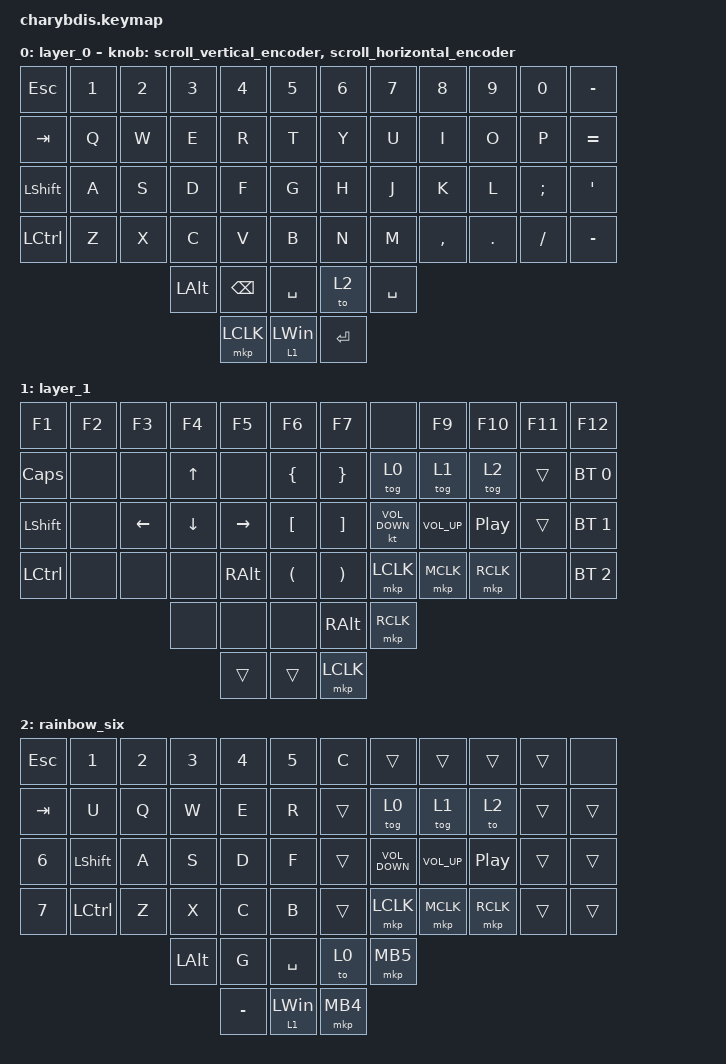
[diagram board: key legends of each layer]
#include <dt-bindings/zmk/mouse.h>
#include <input/processors.dtsi>
#include <zephyr/dt-bindings/input/input-event-codes.h>
#include <behaviors.dtsi>
#include <dt-bindings/zmk/bt.h>
#include <dt-bindings/zmk/keys.h>
#include <dt-bindings/zmk/pointing.h>

#define ZMK_POINTING_DEFAULT_MOVE_VAL 1000 // 600
#define ZMK_POINTING_DEFAULT_SCRL_VAL 12   // 10

&lt {
    tapping-term-ms = <200>;
    flavor = "balanced";
    quick-tap-ms = <150>;
};

&mmv_input_listener { input-processors = <&zip_xy_scaler 2 1>; };

&msc_input_listener { input-processors = <&zip_scroll_scaler 2 1>; };

&msc {
    acceleration-exponent = <0>;      // 0
    time-to-max-speed-ms = <100>;       // 300
    delay-ms = <0>;                   // 0
};

&mmv {
    time-to-max-speed-ms = <300>;
    acceleration-exponent = <1>;
    trigger-period-ms = <16>;
};

/ {
    // 上下滚动编码器行为

    scroll_vertical_encoder: scroll_vertical_encoder {
        compatible = "zmk,behavior-sensor-rotate";
        #sensor-binding-cells = <0>;
        bindings = <&msc SCRL_DOWN>, <&msc SCRL_UP>;

        tap-ms = <100>;
    };

    // 左右滚动编码器行为

    scroll_horizontal_encoder: scroll_horizontal_encoder {
        compatible = "zmk,behavior-sensor-rotate";
        #sensor-binding-cells = <0>;
        bindings = <&msc SCRL_LEFT>, <&msc SCRL_RIGHT>;

        tap-ms = <100>;
    };

    behaviors {
    };

    combos { compatible = "zmk,combos"; };

    keymap {
        compatible = "zmk,keymap";

        layer_0 {
            bindings = <
&kp ESCAPE        &kp N1  &kp N2  &kp N3        &kp N4         &kp N5            &kp N6     &kp NUMBER_7  &kp N8     &kp N9      &kp N0         &kp MINUS
&kp TAB           &kp Q   &kp W   &kp E         &kp R          &kp T             &kp Y      &kp U         &kp I      &kp O       &kp P          &kp EQUAL
&kp LEFT_SHIFT    &kp A   &kp S   &kp D         &kp F          &kp G             &kp H      &kp J         &kp K      &kp L       &kp SEMICOLON  &kp SQT
&kp LEFT_CONTROL  &kp Z   &kp X   &kp C         &kp V          &kp B             &kp N      &kp M         &kp COMMA  &kp PERIOD  &kp FSLH       &kp MINUS
                                  &kp LEFT_ALT  &kp BACKSPACE  &kp SPACE         &to 2      &kp SPACE
                                                &mkp LCLK      &lt 1 LEFT_WIN    &kp ENTER
            >;

            sensor-bindings =
                <&scroll_vertical_encoder>,
                // 编码器1：上下滚动,,,,,,,,,,,,,,,,,,,,,,,,,,,,,,,,,,,,,,
                <&scroll_horizontal_encoder>;

            // 编码器2：左右滚动
        };

        layer_1 {
            bindings = <
&kp F1          &kp F2  &kp F3          &kp F4          &kp F5           &kp F6                  &kp F7                 &none              &kp F9           &kp F10           &kp F11  &kp F12
&kp CAPS        &none   &none           &kp UP_ARROW    &none            &kp LEFT_BRACE          &kp RIGHT_BRACE        &tog 0             &tog 1           &tog 2            &trans   &bt BT_SEL 0
&kp LEFT_SHIFT  &none   &kp LEFT_ARROW  &kp DOWN_ARROW  &kp RIGHT_ARROW  &kp LEFT_BRACKET        &kp RIGHT_BRACKET      &kt C_VOLUME_DOWN  &kp C_VOLUME_UP  &kp C_PLAY_PAUSE  &trans   &bt BT_SEL 1
&kp LCTRL       &none   &none           &none           &kp RALT         &kp LEFT_PARENTHESIS    &kp RIGHT_PARENTHESIS  &mkp LCLK          &mkp MCLK        &mkp RCLK         &none    &bt BT_SEL 2
                                        &none           &none            &none                   &kp RIGHT_ALT          &mkp RCLK
                                                        &trans           &trans                  &mkp LCLK
            >;
        };

        rainbow_six {
            bindings = <
&kp ESCAPE    &kp NUMBER_1      &kp NUMBER_2  &kp NUMBER_3  &kp NUMBER_4  &kp N5            &kp C     &trans             &trans           &trans            &trans  &none
&kp TAB       &kp U             &kp Q         &kp W         &kp E         &kp R             &trans    &tog 0             &tog 1           &to 2             &trans  &trans
&kp NUMBER_6  &kp LEFT_SHIFT    &kp A         &kp S         &kp D         &kp F             &trans    &kp C_VOLUME_DOWN  &kp C_VOLUME_UP  &kp C_PLAY_PAUSE  &trans  &trans
&kp NUMBER_7  &kp LEFT_CONTROL  &kp Z         &kp X         &kp C         &kp B             &trans    &mkp LCLK          &mkp MCLK        &mkp RCLK         &trans  &trans
                                              &kp LEFT_ALT  &kp G         &kp SPACE         &to 0     &mkp MB5
                                                            &kp MINUS     &lt 1 LEFT_WIN    &mkp MB4
            >;
        };

        /* layer_2 {
            bindings = <
&none  &none   &none    &none   &none         &none         &kp N1         &none         &none     &none  &none   &to 0
&none  &none   &none    &none   &none         &none         &none         &none          &rgb_ug RGB_BRD &rgb_ug RGB_BRI  &rgb_ug RGB_EFF   &rgb_ug RGB_TOG
&none  &none   &none    &none   &none         &none         &none         &mkp LCLK     &mkp RCLK  &none  &none   &none
&none  &none   &none    &none   &bt BT_NXT  &bt BT_CLR    &none         &none         &none     &none  &none   &none
                                   &none         &none         &none         &none         &none
                                                 &none         &none         &none
            >;
       
            
        };

       Mouse {
            bindings = <
&none        &none         &none         &none         &none      &none         &none       &none      &none         &none         &none         &none
&none        &bt BT_SEL 0  &bt BT_SEL 1  &bt BT_SEL 3  &none      &bt BT_CLR    &bt BT_CLR  &none      &bt BT_SEL 2  &bt BT_SEL 1  &bt BT_SEL 0  &none
&none        &trans        &trans        &mkp MCLK     &trans     &none         &none       &trans     &mkp MCLK     &trans        &trans        &none
&bootloader  &trans        &mkp RCLK     &mo 4         &mkp LCLK  &mo 5         &mo 5       &mkp LCLK  &mo 4         &mkp RCLK     &trans        &bootloader
                                         &mo 5         &mkp LCLK  &mkp RCLK     &mkp RCLK   &mkp LCLK
                                                       &none      &trans        &trans
            >;

            
        };

        layer_4 {
            bindings = <
&trans  &trans  &trans     &trans     &trans     &trans       &trans     &trans     &trans     &trans     &trans  &trans
&trans  &trans  &trans     &trans     &trans     &trans       &trans     &trans     &trans     &trans     &trans  &trans
&trans  &trans  &trans     &mkp MCLK  &trans     &trans       &trans     &trans     &mkp MCLK  &trans     &trans  &trans
&trans  &trans  &mkp RCLK  &trans     &mkp LCLK  &trans       &trans     &mkp LCLK  &trans     &mkp RCLK  &trans  &trans
                           &trans     &mkp LCLK  &mkp RCLK    &mkp RCLK  &mkp LCLK
                                      &trans     &trans       &trans
            >;
                
                
               
        };

        layer_5 {
            bindings = <
&trans  &trans  &trans     &trans     &trans     &trans       &trans     &trans     &trans     &trans     &trans  &trans
&trans  &trans  &trans     &trans     &trans     &trans       &trans     &trans     &trans     &trans     &trans  &trans
&trans  &trans  &trans     &mkp MCLK  &trans     &trans       &trans     &trans     &mkp MCLK  &trans     &trans  &trans
&trans  &trans  &mkp RCLK  &trans     &mkp LCLK  &trans       &trans     &mkp LCLK  &trans     &mkp RCLK  &trans  &trans
                           &trans     &mkp LCLK  &mkp RCLK    &mkp RCLK  &mkp LCLK
                                      &trans     &trans       &trans
            >;
                
                
        };*/
    };
};
